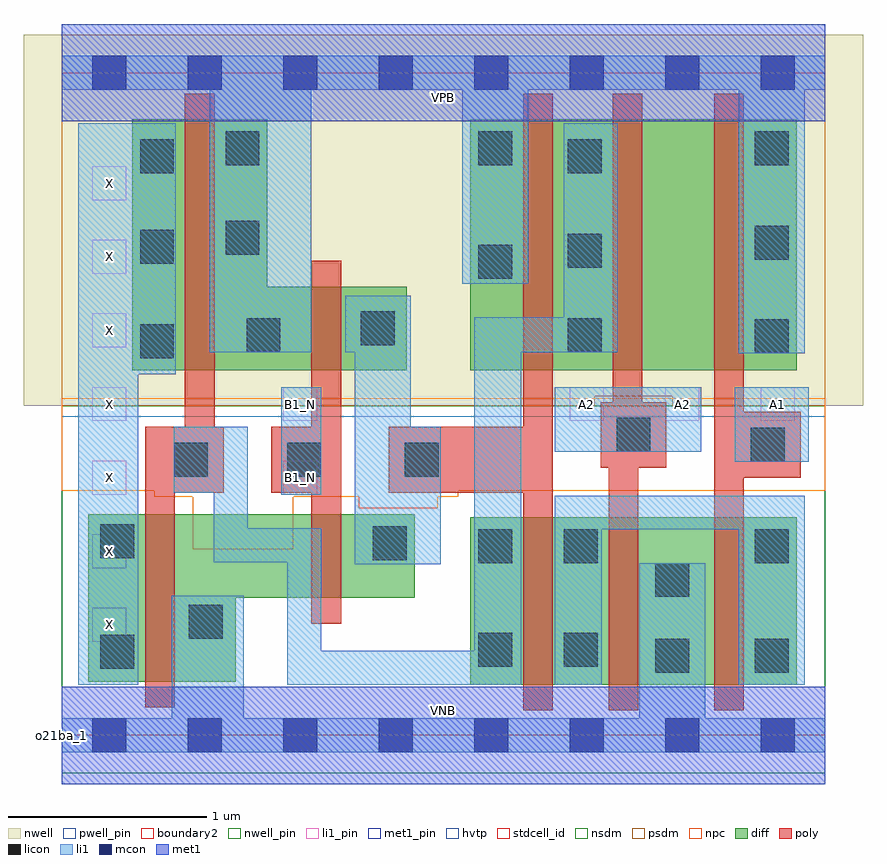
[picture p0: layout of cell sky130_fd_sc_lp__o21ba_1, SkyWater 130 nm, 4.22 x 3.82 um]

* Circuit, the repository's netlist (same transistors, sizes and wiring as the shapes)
* Copyright 2020 The SkyWater PDK Authors
*
* Licensed under the Apache License, Version 2.0 (the "License");
* you may not use this file except in compliance with the License.
* You may obtain a copy of the License at
*
*     https://www.apache.org/licenses/LICENSE-2.0
*
* Unless required by applicable law or agreed to in writing, software
* distributed under the License is distributed on an "AS IS" BASIS,
* WITHOUT WARRANTIES OR CONDITIONS OF ANY KIND, either express or implied.
* See the License for the specific language governing permissions and
* limitations under the License.
*
* SPDX-License-Identifier: Apache-2.0

.SUBCKT sky130_fd_sc_lp__o21ba_1 A1 A2 B1_N VGND VNB VPB VPWR X
*.PININFO A1:I A2:I B1_N:I VGND:I VNB:I VPB:I VPWR:I X:O
MMPA0 VPWR A1 sndA1 VPB sky130_fd_pr__pfet_01v8_hvt m=1 w=1.26U l=0.15U mult=1
+ sa=0.265 sb=0.265 sd=0.28 area=0.063 perim=1.14
MMPA1 sndA1 A2 y VPB sky130_fd_pr__pfet_01v8_hvt m=1 w=1.26U l=0.15U mult=1 sa=0.265
+ sb=0.265 sd=0.28 area=0.063 perim=1.14
MMPB0 VPWR B1 y VPB sky130_fd_pr__pfet_01v8_hvt m=1 w=1.26U l=0.15U mult=1 sa=0.265
+ sb=0.265 sd=0.28 area=0.063 perim=1.14
MMIPB1N B1 B1_N VPWR VPB sky130_fd_pr__pfet_01v8_hvt m=1 w=0.42U l=0.15U mult=1
+ sa=0.265 sb=0.265 sd=0.28 area=0.063 perim=1.14
MMIPX X y VPWR VPB sky130_fd_pr__pfet_01v8_hvt m=1 w=1.26U l=0.15U mult=1 sa=0.265
+ sb=0.265 sd=0.28 area=0.063 perim=1.14
MMNA0 pndA A1 VGND VNB sky130_fd_pr__nfet_01v8 m=1 w=0.84U l=0.15U mult=1 sa=0.265
+ sb=0.265 sd=0.28 area=0.063 perim=1.14
MMNA1 pndA A2 VGND VNB sky130_fd_pr__nfet_01v8 m=1 w=0.84U l=0.15U mult=1 sa=0.265
+ sb=0.265 sd=0.28 area=0.063 perim=1.14
MMNB0 y B1 pndA VNB sky130_fd_pr__nfet_01v8 m=1 w=0.84U l=0.15U mult=1 sa=0.265
+ sb=0.265 sd=0.28 area=0.063 perim=1.14
MMINB1N B1 B1_N VGND VNB sky130_fd_pr__nfet_01v8 m=1 w=0.42U l=0.15U mult=1 sa=0.265
+ sb=0.265 sd=0.28 area=0.063 perim=1.14
MMINX X y VGND VNB sky130_fd_pr__nfet_01v8 m=1 w=0.84U l=0.15U mult=1 sa=0.265
+ sb=0.265 sd=0.28 area=0.063 perim=1.14
.ENDS sky130_fd_sc_lp__o21ba_1

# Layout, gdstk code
import gdstk
lib = gdstk.Library(unit=1e-6, precision=1e-09)
def R(c, l, rs):  # rectangles x0, y0, x1, y1
    for r in rs: c.add(gdstk.rectangle(r[:2], r[2:], *l))
def A(c, l, x, y, w, h, nx, ny, dx, dy):  # array of equal rectangles
    R(c, l, [(x+i*dx, y+j*dy, x+i*dx+w, y+j*dy+h) for i in range(nx) for j in range(ny)])
def P(c, l, *ps):  # polygons
    for p in ps: c.add(gdstk.Polygon(p, *l))
nwell_pin = (64, 16)
nwell = (64, 20)
diff = (65, 20)
poly = (66, 20)
licon = (66, 44)
li1_pin = (67, 16)
li1 = (67, 20)
mcon = (67, 44)
met1_pin = (68, 16)
met1 = (68, 20)
hvtp = (78, 44)
stdcell_id = (81, 4)
nsdm = (93, 44)
psdm = (94, 20)
npc = (95, 20)
pwell_pin = (122, 16)
boundary2 = (236, 0)

sky130_fd_sc_lp__o21ba_1 = lib.new_cell('sky130_fd_sc_lp__o21ba_1')
R(sky130_fd_sc_lp__o21ba_1, nwell_pin, [(0,3.085,3.84,3.33)])
R(sky130_fd_sc_lp__o21ba_1, nwell, [(-0.19,1.655,4.03,3.52)])
R(sky130_fd_sc_lp__o21ba_1, diff, [(2.055,0.255,3.695,1.095), (2.055,1.835,3.695,3.095)])
P(sky130_fd_sc_lp__o21ba_1, diff, [(1.735,2.255),(1.035,2.255),(1.035,3.095),(0.355,3.095),(0.355,1.835),(1.735,1.835)],
  [(1.775,1.11),(0.135,1.11),(0.135,0.27),(0.875,0.27),(0.875,0.69),(1.775,0.69)])
P(sky130_fd_sc_lp__o21ba_1, poly, [(0.815,1.55),(0.77,1.55),(0.77,3.225),(0.62,3.225),(0.62,1.55),(0.42,1.55),(0.42,0.14),(0.57,0.14),(0.57,1.22),(0.815,1.22)],
  [(1.405,2.385),(1.255,2.385),(1.255,1.55),(1.055,1.55),(1.055,1.22),(1.255,1.22),(1.255,0.56),(1.405,0.56)],
  [(2.47,3.225),(2.32,3.225),(2.32,1.55),(1.645,1.55),(1.645,1.22),(2.32,1.22),(2.32,0.125),(2.47,0.125)],
  [(3.04,1.675),(2.92,1.675),(2.92,3.225),(2.77,3.225),(2.77,1.675),(2.71,1.675),(2.71,1.345),(2.75,1.345),(2.75,0.125),(2.9,0.125),(2.9,1.345),(3.04,1.345)],
  [(3.715,1.625),(3.43,1.625),(3.43,3.225),(3.28,3.225),(3.28,0.125),(3.43,0.125),(3.43,1.295),(3.715,1.295)])
R(sky130_fd_sc_lp__o21ba_1, licon, [(2.985,0.315,3.155,0.485), (3.485,0.315,3.655,0.485), (0.195,0.335,0.365,0.505), (2.095,0.345,2.265,0.515), (2.525,0.345,2.695,0.515), (0.64,0.485,0.81,0.655), (2.985,0.695,3.155,0.865), (2.095,0.865,2.265,1.035), (2.525,0.865,2.695,1.035), (3.485,0.865,3.655,1.035), (1.565,0.88,1.735,1.05), (0.195,0.89,0.365,1.06), (0.565,1.3,0.735,1.47), (1.135,1.3,1.305,1.47), (1.725,1.3,1.895,1.47), (3.465,1.375,3.635,1.545), (2.79,1.425,2.96,1.595), (0.395,1.895,0.565,2.065), (3.485,1.92,3.655,2.09), (0.93,1.925,1.1,2.095), (2.545,1.925,2.715,2.095), (1.505,1.96,1.675,2.13), (2.095,2.295,2.265,2.465), (2.545,2.35,2.715,2.52), (0.395,2.37,0.565,2.54), (3.485,2.39,3.655,2.56), (0.825,2.415,0.995,2.585), (0.395,2.825,0.565,2.995), (2.545,2.825,2.715,2.995), (0.825,2.865,0.995,3.035), (2.095,2.865,2.265,3.035), (3.485,2.865,3.655,3.035)])
A(sky130_fd_sc_lp__o21ba_1, li1_pin, 0.155, 0.47, 0.17, 0.17, 1, 7, 0, 0.37)
A(sky130_fd_sc_lp__o21ba_1, li1_pin, 2.555, 1.58, 0.17, 0.17, 3, 1, 0.48, 0)
R(sky130_fd_sc_lp__o21ba_1, li1_pin, [(1.115,1.21,1.285,1.38), (1.115,1.58,1.285,1.75)])
R(sky130_fd_sc_lp__o21ba_1, li1, [(1.105,1.21,1.305,1.75), (3.385,1.375,3.755,1.75), (2.48,1.425,3.215,1.75)])
P(sky130_fd_sc_lp__o21ba_1, li1, [(3.84,3.415),(0,3.415),(0,3.245),(0.745,3.245),(0.745,1.925),(1.255,1.925),(1.255,3.245),(2.015,3.245),(2.015,2.27),(2.345,2.27),(2.345,3.245),(3.405,3.245),(3.405,1.92),(3.735,1.92),(3.735,3.245),(3.84,3.245)],
  [(0.575,3.075),(0.085,3.075),(0.085,0.255),(0.385,0.255),(0.385,1.815),(0.575,1.815)],
  [(3.735,1.205),(2.48,1.205),(2.48,0.255),(2.715,0.255),(2.715,1.035),(3.405,1.035),(3.405,0.255),(3.735,0.255)],
  [(1.905,1.55),(1.755,1.55),(1.755,2.21),(1.425,2.21),(1.425,1.925),(1.475,1.925),(1.475,0.86),(1.905,0.86)],
  [(2.795,3.075),(2.525,3.075),(2.525,2.1),(2.075,2.1),(2.075,0.425),(1.305,0.425),(1.305,1.04),(0.935,1.04),(0.935,1.55),(0.565,1.55),(0.565,1.22),(0.765,1.22),(0.765,0.87),(1.135,0.87),(1.135,0.255),(2.31,0.255),(2.31,1.925),(2.795,1.925)],
  [(3.84,0.085),(3.235,0.085),(3.235,0.865),(2.905,0.865),(2.905,0.085),(0.915,0.085),(0.915,0.7),(0.555,0.7),(0.555,0.085),(0,0.085),(0,-0.085),(3.84,-0.085)])
A(sky130_fd_sc_lp__o21ba_1, mcon, 0.155, -0.085, 0.17, 0.17, 8, 2, 0.48, 3.33)
R(sky130_fd_sc_lp__o21ba_1, met1_pin, [(0,0,3.84,0.245), (0,3.085,3.84,3.33)])
R(sky130_fd_sc_lp__o21ba_1, met1, [(0,-0.245,3.84,0.245), (0,3.085,3.84,3.575)])
R(sky130_fd_sc_lp__o21ba_1, hvtp, [(0,1.6,3.84,3.33)])
R(sky130_fd_sc_lp__o21ba_1, stdcell_id, [(0,0,3.84,3.33)])
R(sky130_fd_sc_lp__o21ba_1, nsdm, [(0,-0.19,3.84,1.655)])
P(sky130_fd_sc_lp__o21ba_1, psdm, [(3.84,3.52),(0,3.52),(0,1.655),(2.68,1.655),(2.68,1.705),(3.07,1.705),(3.07,1.655),(3.84,1.655)])
P(sky130_fd_sc_lp__o21ba_1, npc, [(3.84,1.695),(0,1.695),(0,1.23),(0.465,1.23),(0.465,1.2),(0.66,1.2),(0.66,0.935),(1.165,0.935),(1.165,1.2),(1.495,1.2),(1.495,1.14),(1.89,1.14),(1.89,1.2),(1.995,1.2),(1.995,1.23),(3.84,1.23)])
R(sky130_fd_sc_lp__o21ba_1, pwell_pin, [(0,0,3.84,0.245)])
R(sky130_fd_sc_lp__o21ba_1, boundary2, [(0,0,3.84,3.33)])
sky130_fd_sc_lp__o21ba_1.add(gdstk.Label('VNB', (1.92,0.123), layer=64, texttype=59))
sky130_fd_sc_lp__o21ba_1.add(gdstk.Label('VPB', (1.92,3.208), layer=64, texttype=5))
sky130_fd_sc_lp__o21ba_1.add(gdstk.Label('o21ba_1', (0,0), layer=83, texttype=44))
sky130_fd_sc_lp__o21ba_1.add(gdstk.Label('VPWR', (1.92,3.208), layer=68, texttype=5))
sky130_fd_sc_lp__o21ba_1.add(gdstk.Label('VGND', (1.92,0.123), layer=68, texttype=5))
sky130_fd_sc_lp__o21ba_1.add(gdstk.Label('A1', (3.6,1.665), layer=67, texttype=5))
sky130_fd_sc_lp__o21ba_1.add(gdstk.Label('X', (0.24,2.775), layer=67, texttype=5))
sky130_fd_sc_lp__o21ba_1.add(gdstk.Label('A2', (2.64,1.665), layer=67, texttype=5))
sky130_fd_sc_lp__o21ba_1.add(gdstk.Label('A2', (3.12,1.665), layer=67, texttype=5))
sky130_fd_sc_lp__o21ba_1.add(gdstk.Label('B1_N', (1.2,1.295), layer=67, texttype=5))
sky130_fd_sc_lp__o21ba_1.add(gdstk.Label('B1_N', (1.2,1.665), layer=67, texttype=5))
sky130_fd_sc_lp__o21ba_1.add(gdstk.Label('X', (0.24,0.555), layer=67, texttype=5))
sky130_fd_sc_lp__o21ba_1.add(gdstk.Label('X', (0.24,0.925), layer=67, texttype=5))
sky130_fd_sc_lp__o21ba_1.add(gdstk.Label('X', (0.24,1.295), layer=67, texttype=5))
sky130_fd_sc_lp__o21ba_1.add(gdstk.Label('X', (0.24,1.665), layer=67, texttype=5))
sky130_fd_sc_lp__o21ba_1.add(gdstk.Label('X', (0.24,2.035), layer=67, texttype=5))
sky130_fd_sc_lp__o21ba_1.add(gdstk.Label('X', (0.24,2.405), layer=67, texttype=5))

lib.write_gds('sky130_fd_sc_lp__o21ba_1.gds')
